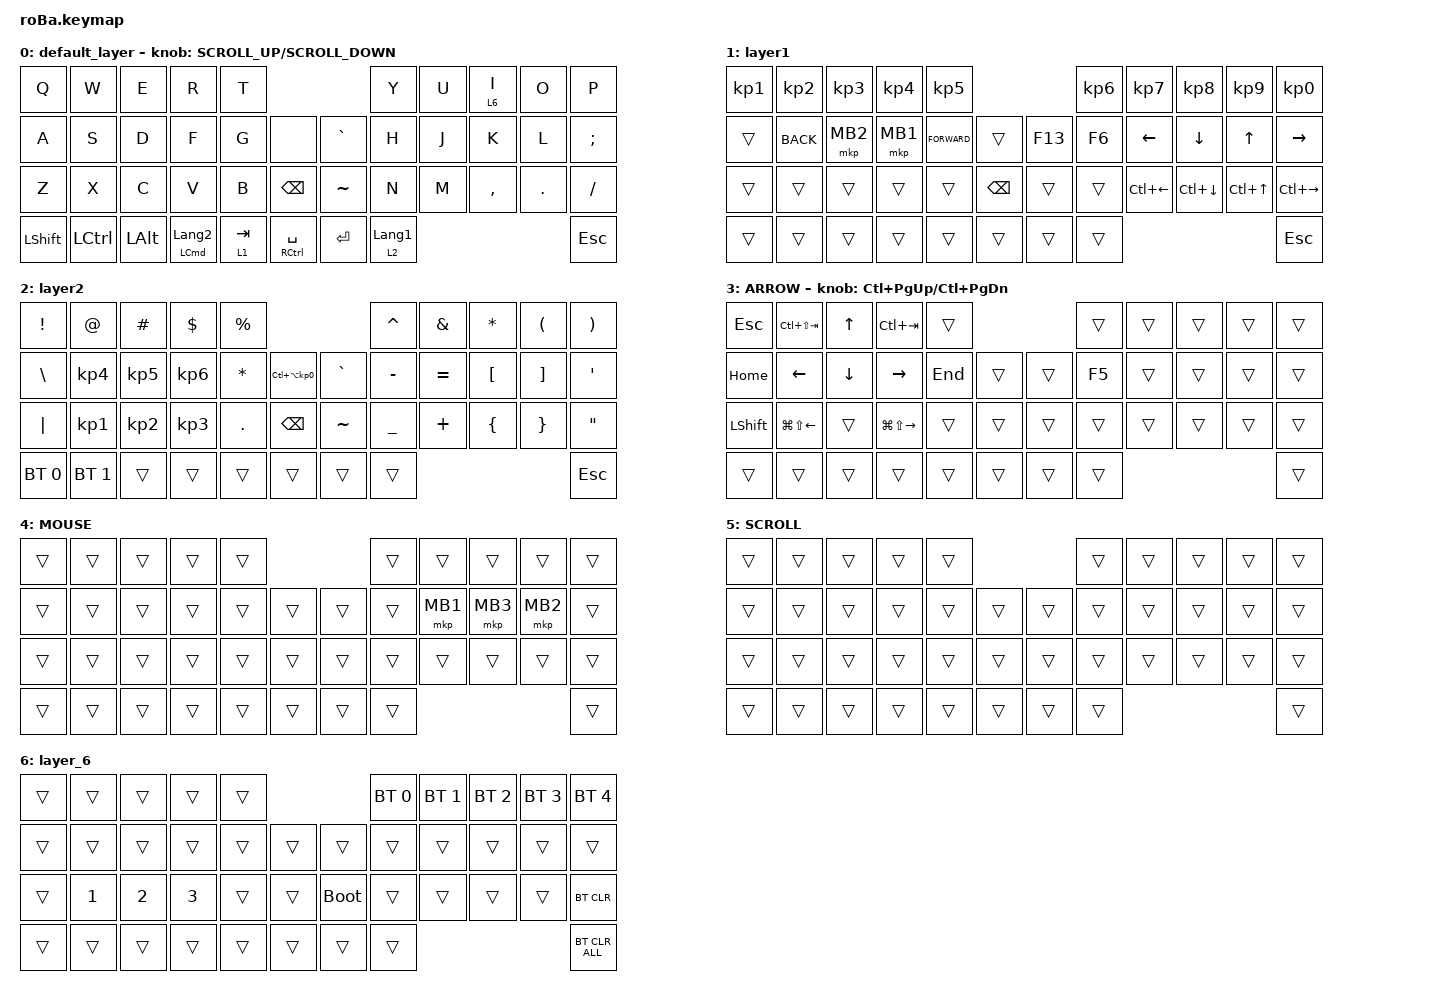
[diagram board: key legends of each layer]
#include <behaviors.dtsi>
#include <dt-bindings/zmk/bt.h>
#include <dt-bindings/zmk/keys.h>
#include <dt-bindings/zmk/pointing.h>

&mt {
    flavor = "balanced";
    quick-tap-ms = <0>;
};

&trackball {
    automouse-layer = <4>;
    scroll-layers = <5>;

    // arrows {
    //     layers = <3>;
    //     bindings =
    //         <&kp RIGHT_ARROW>,
    //         <&kp LEFT_ARROW>,
    //         <&kp UP_ARROW>,
    //         <&kp DOWN_ARROW>;
    //     tick = <10>;
    //     wait-ms = <5>;
    //     tap-ms = <5>;
    // };
};

/ {
    combos {
        compatible = "zmk,combos";

        tab {
            bindings = <&kp TAB>;
            key-positions = <11 12>;
        };

        shift_tab {
            bindings = <&kp LS(TAB)>;
            key-positions = <12 13>;
        };

        muhennkann {
            bindings = <&to_layer_0 INT_MUHENKAN>;
            key-positions = <11 10>;
        };

        double_quotation {
            bindings = <&kp DOUBLE_QUOTES>;
            key-positions = <20 21>;
        };

        eq {
            bindings = <&kp EQUAL>;
            key-positions = <24 25>;
        };

        layer3 {
            bindings = <&mo 3>;
            key-positions = <38 41>;
        };
    };

    macros {
        to_layer_0: to_layer_0 {
            compatible = "zmk,behavior-macro-one-param";
            #binding-cells = <1>;
            bindings = <&to 0 &macro_param_1to1 &kp MACRO_PLACEHOLDER>;
            label = "TO_LAYER_0";
        };
    };

    behaviors {
        lt_to_layer_0: lt_to_layer_0 {
            compatible = "zmk,behavior-hold-tap";
            label = "LAYER_TAP_TO_0";
            bindings = <&mo>, <&to_layer_0>;

            #binding-cells = <2>;
            tapping-term-ms = <200>;
        };
    };

    keymap {
        compatible = "zmk,keymap";

        default_layer {
            bindings = <
&kp Q           &kp W      &kp E         &kp R                        &kp T                                      &kp Y             &kp U  &lt 6 I    &kp O    &kp P
&kp A           &kp S      &kp D         &kp F                        &kp G      &none                &kp GRAVE  &kp H             &kp J  &kp K      &kp L    &kp SEMICOLON
&kp Z           &kp X      &kp C         &kp V                        &kp B      &kp BACKSPACE        &kp TILDE  &kp N             &kp M  &kp COMMA  &kp DOT  &kp SLASH
&kp LEFT_SHIFT  &kp LCTRL  &kp LEFT_ALT  &mt LEFT_COMMAND LANGUAGE_2  &lt 1 TAB  &mt RCTRL SPACE      &kp ENTER  &lt 2 LANGUAGE_1                             &kp ESC
            >;

            sensor-bindings = <&inc_dec_kp K_SCROLL_UP K_SCROLL_DOWN>;
        };

        layer1 {
            bindings = <
&kp KP_N1  &kp KP_N2   &kp KP_N3  &kp KP_N4  &kp KP_N5                                  &kp KP_N6  &kp KP_N7           &kp KP_N8           &kp KP_N9         &kp KP_N0
&trans     &kp K_BACK  &mkp MB2   &mkp MB1   &kp K_FORWARD  &trans             &kp F13  &kp F6     &kp LEFT_ARROW      &kp DOWN_ARROW      &kp UP_ARROW      &kp RIGHT_ARROW
&trans     &trans      &trans     &trans     &trans         &kp BACKSPACE      &trans   &trans     &kp LC(LEFT_ARROW)  &kp LC(DOWN_ARROW)  &kp LC(UP_ARROW)  &kp LC(RIGHT_ARROW)
&trans     &trans      &trans     &trans     &trans         &trans             &trans   &trans                                                               &kp ESCAPE
            >;
        };

        layer2 {
            bindings = <
&kp EXCLAMATION  &kp AT_SIGN      &kp HASH         &kp DOLLAR       &kp PERCENT                                           &kp CARET       &kp AMPERSAND  &kp ASTERISK      &kp LEFT_PARENTHESIS  &kp RIGHT_PARENTHESIS
&kp BACKSLASH    &kp KP_NUMBER_4  &kp KP_NUMBER_5  &kp KP_NUMBER_6  &kp ASTERISK  &kp LC(LA(KP_NUMBER_0))      &kp GRAVE  &kp MINUS       &kp EQUAL      &kp LEFT_BRACKET  &kp RIGHT_BRACKET     &kp SINGLE_QUOTE
&kp PIPE         &kp KP_NUMBER_1  &kp KP_NUMBER_2  &kp KP_NUMBER_3  &kp PERIOD    &kp BACKSPACE                &kp TILDE  &kp UNDERSCORE  &kp PLUS       &kp LEFT_BRACE    &kp RIGHT_BRACE       &kp DOUBLE_QUOTES
&bt BT_SEL 0     &bt BT_SEL 1     &trans           &trans           &trans        &trans                       &trans     &trans                                                                 &kp ESCAPE
            >;
        };

        ARROW {
            bindings = <
&kp ESCAPE      &kp LC(LS(TAB))         &kp UP_ARROW    &kp LC(TAB)              &trans                       &trans  &trans  &trans  &trans  &trans
&kp HOME        &kp LEFT_ARROW          &kp DOWN_ARROW  &kp RIGHT_ARROW          &kp END  &trans      &trans  &kp F5  &trans  &trans  &trans  &trans
&kp LEFT_SHIFT  &kp LG(LS(LEFT_ARROW))  &trans          &kp LG(LS(RIGHT_ARROW))  &trans   &trans      &trans  &trans  &trans  &trans  &trans  &trans
&trans          &trans                  &trans          &trans                   &trans   &trans      &trans  &trans                          &trans
            >;

            sensor-bindings = <&inc_dec_kp LC(PAGE_UP) LC(PAGE_DOWN)>;
        };

        MOUSE {
            bindings = <
&trans  &trans  &trans  &trans  &trans                      &trans  &trans    &trans    &trans    &trans
&trans  &trans  &trans  &trans  &trans  &trans      &trans  &trans  &mkp MB1  &mkp MB3  &mkp MB2  &trans
&trans  &trans  &trans  &trans  &trans  &trans      &trans  &trans  &trans    &trans    &trans    &trans
&trans  &trans  &trans  &trans  &trans  &trans      &trans  &trans                                &trans
            >;
        };

        SCROLL {
            bindings = <
&trans  &trans  &trans  &trans  &trans                      &trans  &trans  &trans  &trans  &trans
&trans  &trans  &trans  &trans  &trans  &trans      &trans  &trans  &trans  &trans  &trans  &trans
&trans  &trans  &trans  &trans  &trans  &trans      &trans  &trans  &trans  &trans  &trans  &trans
&trans  &trans  &trans  &trans  &trans  &trans      &trans  &trans                          &trans
            >;
        };

        layer_6 {
            bindings = <
&trans  &trans        &trans        &trans        &trans                           &bt BT_SEL 0  &bt BT_SEL 1  &bt BT_SEL 2  &bt BT_SEL 3  &bt BT_SEL 4
&trans  &trans        &trans        &trans        &trans  &trans      &trans       &trans        &trans        &trans        &trans        &trans
&trans  &kp NUMBER_1  &kp NUMBER_2  &kp NUMBER_3  &trans  &trans      &bootloader  &trans        &trans        &trans        &trans        &bt BT_CLR
&trans  &trans        &trans        &trans        &trans  &trans      &trans       &trans                                                  &bt BT_CLR_ALL
            >;
        };
    };
};
